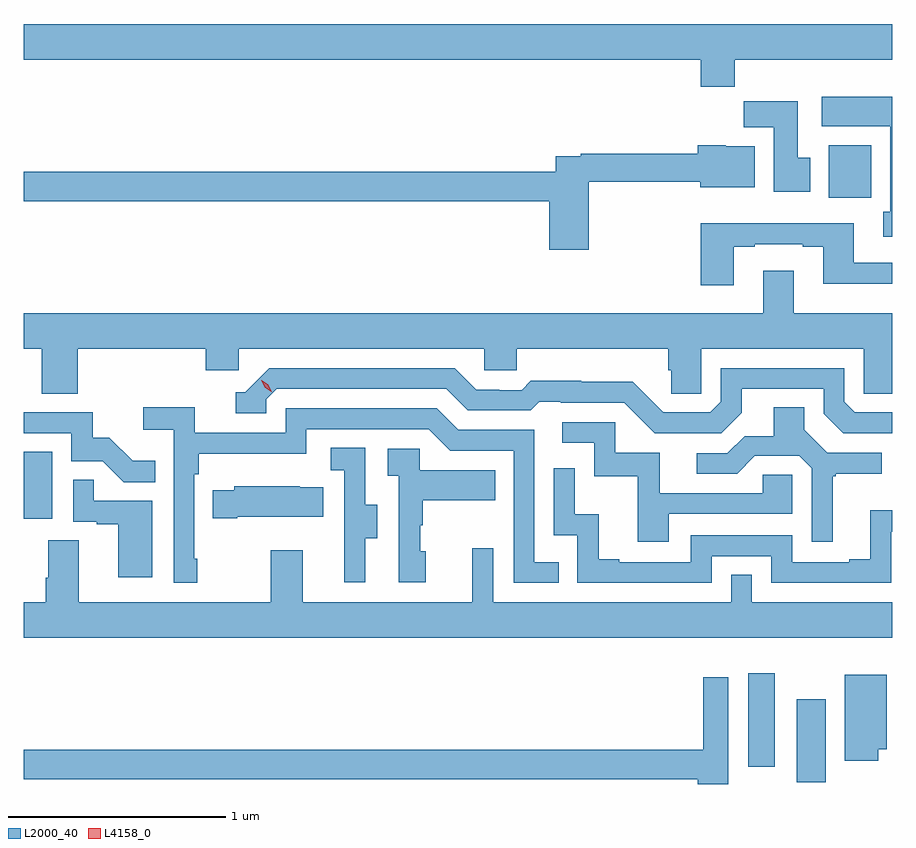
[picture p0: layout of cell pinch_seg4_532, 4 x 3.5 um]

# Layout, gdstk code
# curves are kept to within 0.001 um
import gdstk
lib = gdstk.Library(unit=1e-6, precision=1e-09)
def R(c, l, rs):  # rectangles x0, y0, x1, y1
    for r in rs: c.add(gdstk.rectangle(r[:2], r[2:], *l))
def P(c, l, *ps):  # polygons
    for p in ps: c.add(gdstk.Polygon(p, *l))
L2000_40 = (2000, 40)
L4158_0 = (4158, 0)

pinch_seg4_532 = lib.new_cell('pinch_seg4_532')
R(pinch_seg4_532, L2000_40, [(1083.11,776.176,1083.244,776.557), (1082.888,776.247,1083.01,776.677), (1079.55,777.39,1079.68,777.697), (1083.257,778.868,1083.454,779.11)])
P(pinch_seg4_532, L2000_40, [(1082.825,779.504),(1083.55,779.504),(1083.55,779.668),(1079.55,779.668),(1079.55,779.504),(1082.669,779.504),(1082.669,779.38),(1082.825,779.38)],
  [(1083.55,779.332),(1083.225,779.332),(1083.225,779.198),(1083.542,779.198),(1083.542,778.802),(1083.509,778.802),(1083.509,778.689),(1083.55,778.689)],
  [(1083.172,779.052),(1083.115,779.052),(1083.115,779.311),(1082.866,779.311),(1082.866,779.192),(1083.005,779.192),(1083.005,778.896),(1083.172,778.896)],
  [(1082.153,778.942),(1082.666,778.942),(1082.666,778.916),(1082.917,778.916),(1082.917,779.104),(1082.784,779.104),(1082.784,779.11),(1082.654,779.11),(1082.654,779.071),(1082.116,779.071),(1082.116,779.058),(1082,779.058),(1082,778.988),(1079.55,778.988),(1079.55,778.852),(1081.97,778.852),(1081.97,778.629),(1082.153,778.629)],
  [(1082.821,778.641),(1082.917,778.641),(1082.917,778.653),(1083.137,778.653),(1083.137,778.641),(1083.233,778.641),(1083.233,778.472),(1083.55,778.472),(1083.55,778.569),(1083.373,778.569),(1083.373,778.75),(1082.669,778.75),(1082.669,778.464),(1082.821,778.464)],
  [(1082.957,778.531),(1082.957,778.336),(1079.55,778.336),(1079.55,778.172),(1079.633,778.172),(1079.633,777.964),(1079.798,777.964),(1079.798,778.172),(1080.389,778.172),(1080.389,778.074),(1080.54,778.074),(1080.54,778.172),(1081.671,778.172),(1081.671,778.074),(1081.821,778.074),(1081.821,778.172),(1082.519,778.172),(1082.519,778.074),(1082.533,778.074),(1082.533,777.964),(1082.67,777.964),(1082.67,778.172),(1083.42,778.172),(1083.42,777.964),(1083.55,777.964),(1083.55,778.336),(1083.097,778.336),(1083.097,778.531)],
  [(1083.55,777.879),(1083.378,777.879),(1083.33,777.927),(1083.33,778.083),(1082.76,778.083),(1082.76,777.927),(1082.712,777.879),(1082.496,777.879),(1082.354,778.021),(1082.118,778.021),(1082.118,778.024),(1081.885,778.024),(1081.843,777.981),(1081.74,777.981),(1081.74,777.984),(1081.633,777.984),(1081.534,778.083),(1080.681,778.083),(1080.57,777.972),(1080.527,777.972),(1080.527,777.876),(1080.666,777.876),(1080.666,777.939),(1080.714,777.987),(1081.497,777.987),(1081.596,777.888),(1081.885,777.888),(1081.924,777.927),(1082.023,777.927),(1082.023,777.924),(1082.316,777.924),(1082.457,777.783),(1082.763,777.783),(1082.857,777.877),(1082.857,777.987),(1083.234,777.987),(1083.234,777.873),(1083.324,777.783),(1083.55,777.782)],
  [(1080.349,777.205),(1080.336,777.205),(1080.336,777.593),(1080.356,777.593),(1080.356,777.689),(1080.852,777.689),(1080.852,777.801),(1081.416,777.801),(1081.515,777.702),(1081.806,777.702),(1081.806,777.093),(1082.015,777.093),(1082.015,777.189),(1081.902,777.189),(1081.902,777.798),(1081.552,777.798),(1081.453,777.897),(1080.756,777.897),(1080.756,777.786),(1080.338,777.786),(1080.338,777.902),(1080.099,777.902),(1080.099,777.8),(1080.24,777.8),(1080.24,777.093),(1080.349,777.093)],
  [(1083.277,777.585),(1083.289,777.585),(1083.289,777.596),(1083.502,777.596),(1083.502,777.693),(1083.252,777.693),(1083.145,777.8),(1083.145,777.902),(1083.005,777.902),(1083.005,777.77),(1082.87,777.77),(1082.79,777.69),(1082.649,777.69),(1082.649,777.597),(1082.836,777.597),(1082.917,777.678),(1083.123,777.678),(1083.18,777.621),(1083.18,777.282),(1083.277,777.282)],
  [(1080.155,777.655),(1080.051,777.655),(1079.944,777.762),(1079.868,777.762),(1079.868,777.879),(1079.55,777.879),(1079.55,777.783),(1079.769,777.783),(1079.769,777.654),(1079.913,777.654),(1080.011,777.556),(1080.155,777.556)],
  [(1082.521,777.411),(1083.09,777.411),(1083.09,777.591),(1082.953,777.591),(1082.953,777.507),(1082.479,777.507),(1082.479,777.693),(1082.274,777.693),(1082.274,777.834),(1082.031,777.834),(1082.031,777.738),(1082.178,777.738),(1082.178,777.585),(1082.377,777.585),(1082.377,777.282),(1082.521,777.282)],
  [(1081.123,777.298),(1081.177,777.298),(1081.177,777.453),(1081.122,777.453),(1081.122,777.716),(1080.963,777.716),(1080.963,777.613),(1081.026,777.613),(1081.026,777.309),(1081.025,777.309),(1081.025,777.096),(1081.123,777.096)],
  [(1081.402,777.24),(1081.377,777.24),(1081.377,777.359),(1081.387,777.359),(1081.387,777.473),(1081.721,777.473),(1081.721,777.613),(1081.374,777.613),(1081.374,777.711),(1081.227,777.711),(1081.227,777.587),(1081.278,777.587),(1081.278,777.096),(1081.402,777.096)],
  [(1082.718,777.216),(1082.994,777.216),(1082.994,777.093),(1083.546,777.093),(1083.546,777.329),(1083.55,777.329),(1083.55,777.427),(1083.449,777.427),(1083.449,777.202),(1083.353,777.202),(1083.353,777.189),(1083.09,777.189),(1083.09,777.312),(1082.622,777.312),(1082.622,777.189),(1082.293,777.189),(1082.293,777.202),(1082.198,777.202),(1082.198,777.41),(1082.088,777.41),(1082.088,777.622),(1081.992,777.622),(1081.992,777.312),(1082.1,777.312),(1082.1,777.093),(1082.718,777.093)],
  [(1080.142,777.471),(1079.873,777.471),(1079.873,777.569),(1079.778,777.569),(1079.778,777.375),(1079.885,777.375),(1079.885,777.363),(1079.984,777.363),(1079.984,777.12),(1080.142,777.12)],
  [(1080.532,777.398),(1080.929,777.398),(1080.929,777.535),(1080.821,777.535),(1080.821,777.538),(1080.519,777.538),(1080.519,777.52),(1080.421,777.52),(1080.421,777.391),(1080.532,777.391)],
  [(1083.55,777.004),(1082.904,777.004),(1082.904,777.131),(1082.808,777.131),(1082.808,777.004),(1081.713,777.004),(1081.713,777.253),(1081.616,777.253),(1081.616,777.004),(1080.835,777.004),(1080.835,777.244),(1080.688,777.244),(1080.688,777.004),(1079.803,777.004),(1079.803,777.29),(1079.663,777.29),(1079.663,777.116),(1079.651,777.116),(1079.651,777.004),(1079.55,777.004),(1079.55,776.84),(1083.55,776.84)],
  [(1083.487,776.327),(1083.526,776.327),(1083.526,776.671),(1083.332,776.671),(1083.332,776.274),(1083.487,776.274)],
  [(1082.796,776.659),(1082.68,776.659),(1082.68,776.324),(1079.55,776.324),(1079.55,776.188),(1082.654,776.188),(1082.654,776.167),(1082.796,776.167)])
P(pinch_seg4_532, L4158_0, [(1080.69,777.973),(1080.66,777.994),(1080.644,778.026),(1080.644,778.027),(1080.645,778.027),(1080.675,778.006),(1080.691,777.974),(1080.691,777.973)])

lib.write_gds('pinch_seg4_532.gds')
